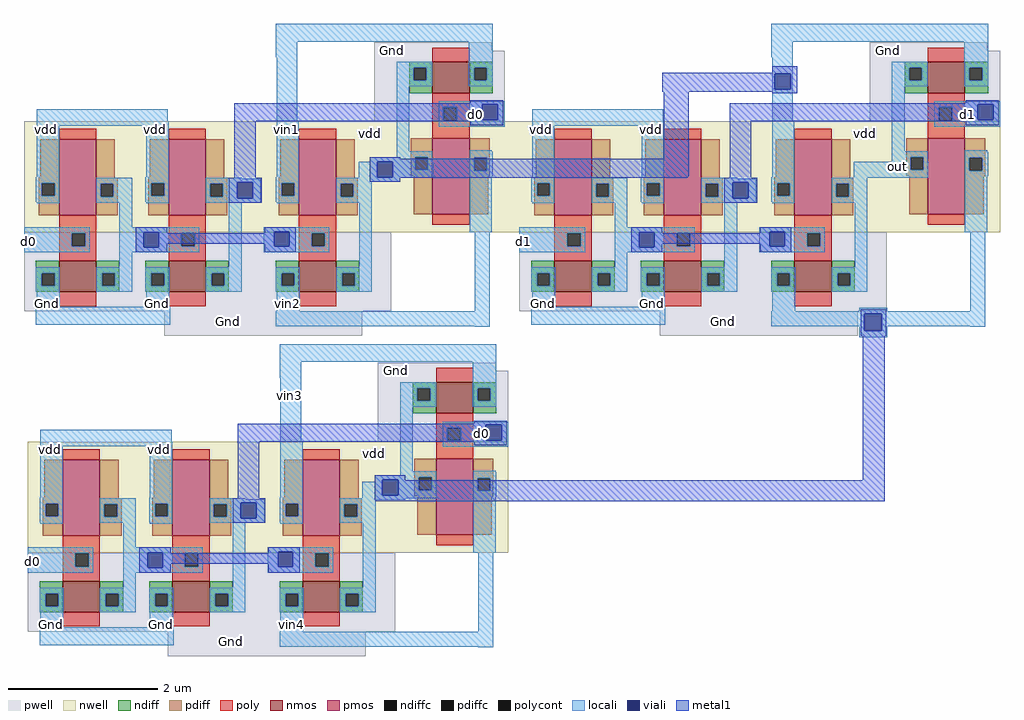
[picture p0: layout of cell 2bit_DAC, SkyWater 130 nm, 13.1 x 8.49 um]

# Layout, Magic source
magic
tech sky130A
<< nwell >>
rect 0 139 1310 288
rect 5 -291 650 -142
<< pwell >>
rect 470 383 628 394
rect 1135 383 1293 394
rect 470 288 645 383
rect 1135 288 1310 383
rect 0 33 493 139
rect 665 33 1158 139
rect 188 0 454 33
rect 853 0 1119 33
rect 475 -47 633 -36
rect 475 -142 650 -47
rect 5 -397 498 -291
rect 193 -430 459 -397
<< nmos >>
rect 548 326 598 368
rect 1213 326 1263 368
rect 47 59 97 101
rect 194 59 244 101
rect 369 59 419 101
rect 712 59 762 101
rect 859 59 909 101
rect 1034 59 1084 101
rect 553 -104 603 -62
rect 52 -371 102 -329
rect 199 -371 249 -329
rect 374 -371 424 -329
<< pmos >>
rect 47 162 97 264
rect 194 162 244 264
rect 369 162 419 264
rect 548 163 598 265
rect 712 162 762 264
rect 859 162 909 264
rect 1034 162 1084 264
rect 1213 163 1263 265
rect 52 -268 102 -166
rect 199 -268 249 -166
rect 374 -268 424 -166
rect 553 -267 603 -165
<< ndiff >>
rect 517 360 548 368
rect 517 343 523 360
rect 540 343 548 360
rect 517 326 548 343
rect 598 360 629 368
rect 598 343 604 360
rect 621 343 629 360
rect 598 326 629 343
rect 1182 360 1213 368
rect 1182 343 1188 360
rect 1205 343 1213 360
rect 1182 326 1213 343
rect 1263 360 1294 368
rect 1263 343 1269 360
rect 1286 343 1294 360
rect 1263 326 1294 343
rect 16 84 47 101
rect 16 67 24 84
rect 41 67 47 84
rect 16 59 47 67
rect 97 84 128 101
rect 97 67 105 84
rect 122 67 128 84
rect 97 59 128 67
rect 163 84 194 101
rect 163 67 171 84
rect 188 67 194 84
rect 163 59 194 67
rect 244 84 275 101
rect 244 67 252 84
rect 269 67 275 84
rect 244 59 275 67
rect 338 84 369 101
rect 338 67 346 84
rect 363 67 369 84
rect 338 59 369 67
rect 419 84 450 101
rect 419 67 427 84
rect 444 67 450 84
rect 419 59 450 67
rect 681 84 712 101
rect 681 67 689 84
rect 706 67 712 84
rect 681 59 712 67
rect 762 84 793 101
rect 762 67 770 84
rect 787 67 793 84
rect 762 59 793 67
rect 828 84 859 101
rect 828 67 836 84
rect 853 67 859 84
rect 828 59 859 67
rect 909 84 940 101
rect 909 67 917 84
rect 934 67 940 84
rect 909 59 940 67
rect 1003 84 1034 101
rect 1003 67 1011 84
rect 1028 67 1034 84
rect 1003 59 1034 67
rect 1084 84 1115 101
rect 1084 67 1092 84
rect 1109 67 1115 84
rect 1084 59 1115 67
rect 522 -70 553 -62
rect 522 -87 528 -70
rect 545 -87 553 -70
rect 522 -104 553 -87
rect 603 -70 634 -62
rect 603 -87 609 -70
rect 626 -87 634 -70
rect 603 -104 634 -87
rect 21 -346 52 -329
rect 21 -363 29 -346
rect 46 -363 52 -346
rect 21 -371 52 -363
rect 102 -346 133 -329
rect 102 -363 110 -346
rect 127 -363 133 -346
rect 102 -371 133 -363
rect 168 -346 199 -329
rect 168 -363 176 -346
rect 193 -363 199 -346
rect 168 -371 199 -363
rect 249 -346 280 -329
rect 249 -363 257 -346
rect 274 -363 280 -346
rect 249 -371 280 -363
rect 343 -346 374 -329
rect 343 -363 351 -346
rect 368 -363 374 -346
rect 343 -371 374 -363
rect 424 -346 455 -329
rect 424 -363 432 -346
rect 449 -363 455 -346
rect 424 -371 455 -363
<< pdiff >>
rect 22 213 47 264
rect 20 205 47 213
rect 20 188 24 205
rect 41 188 47 205
rect 20 162 47 188
rect 97 212 122 264
rect 169 213 194 264
rect 97 204 126 212
rect 97 187 103 204
rect 120 187 126 204
rect 97 162 126 187
rect 167 205 194 213
rect 167 188 171 205
rect 188 188 194 205
rect 167 162 194 188
rect 244 212 269 264
rect 344 213 369 264
rect 244 204 273 212
rect 244 187 250 204
rect 267 187 273 204
rect 244 162 273 187
rect 342 205 369 213
rect 342 188 346 205
rect 363 188 369 205
rect 342 162 369 188
rect 419 212 444 264
rect 519 240 548 265
rect 519 223 525 240
rect 542 223 548 240
rect 519 215 548 223
rect 419 204 448 212
rect 419 187 425 204
rect 442 187 448 204
rect 419 162 448 187
rect 523 163 548 215
rect 598 239 625 265
rect 598 222 604 239
rect 621 222 625 239
rect 598 214 625 222
rect 598 163 623 214
rect 687 213 712 264
rect 685 205 712 213
rect 685 188 689 205
rect 706 188 712 205
rect 685 162 712 188
rect 762 212 787 264
rect 834 213 859 264
rect 762 204 791 212
rect 762 187 768 204
rect 785 187 791 204
rect 762 162 791 187
rect 832 205 859 213
rect 832 188 836 205
rect 853 188 859 205
rect 832 162 859 188
rect 909 212 934 264
rect 1009 213 1034 264
rect 909 204 938 212
rect 909 187 915 204
rect 932 187 938 204
rect 909 162 938 187
rect 1007 205 1034 213
rect 1007 188 1011 205
rect 1028 188 1034 205
rect 1007 162 1034 188
rect 1084 212 1109 264
rect 1184 240 1213 265
rect 1184 223 1190 240
rect 1207 223 1213 240
rect 1184 215 1213 223
rect 1084 204 1113 212
rect 1084 187 1090 204
rect 1107 187 1113 204
rect 1084 162 1113 187
rect 1188 163 1213 215
rect 1263 239 1290 265
rect 1263 222 1269 239
rect 1286 222 1290 239
rect 1263 214 1290 222
rect 1263 163 1288 214
rect 27 -217 52 -166
rect 25 -225 52 -217
rect 25 -242 29 -225
rect 46 -242 52 -225
rect 25 -268 52 -242
rect 102 -218 127 -166
rect 174 -217 199 -166
rect 102 -226 131 -218
rect 102 -243 108 -226
rect 125 -243 131 -226
rect 102 -268 131 -243
rect 172 -225 199 -217
rect 172 -242 176 -225
rect 193 -242 199 -225
rect 172 -268 199 -242
rect 249 -218 274 -166
rect 349 -217 374 -166
rect 249 -226 278 -218
rect 249 -243 255 -226
rect 272 -243 278 -226
rect 249 -268 278 -243
rect 347 -225 374 -217
rect 347 -242 351 -225
rect 368 -242 374 -225
rect 347 -268 374 -242
rect 424 -218 449 -166
rect 524 -190 553 -165
rect 524 -207 530 -190
rect 547 -207 553 -190
rect 524 -215 553 -207
rect 424 -226 453 -218
rect 424 -243 430 -226
rect 447 -243 453 -226
rect 424 -268 453 -243
rect 528 -267 553 -215
rect 603 -191 630 -165
rect 603 -208 609 -191
rect 626 -208 630 -191
rect 603 -216 630 -208
rect 603 -267 628 -216
<< ndiffc >>
rect 523 343 540 360
rect 604 343 621 360
rect 1188 343 1205 360
rect 1269 343 1286 360
rect 24 67 41 84
rect 105 67 122 84
rect 171 67 188 84
rect 252 67 269 84
rect 346 67 363 84
rect 427 67 444 84
rect 689 67 706 84
rect 770 67 787 84
rect 836 67 853 84
rect 917 67 934 84
rect 1011 67 1028 84
rect 1092 67 1109 84
rect 528 -87 545 -70
rect 609 -87 626 -70
rect 29 -363 46 -346
rect 110 -363 127 -346
rect 176 -363 193 -346
rect 257 -363 274 -346
rect 351 -363 368 -346
rect 432 -363 449 -346
<< pdiffc >>
rect 24 188 41 205
rect 103 187 120 204
rect 171 188 188 205
rect 250 187 267 204
rect 346 188 363 205
rect 525 223 542 240
rect 425 187 442 204
rect 604 222 621 239
rect 689 188 706 205
rect 768 187 785 204
rect 836 188 853 205
rect 915 187 932 204
rect 1011 188 1028 205
rect 1190 223 1207 240
rect 1090 187 1107 204
rect 1269 222 1286 239
rect 29 -242 46 -225
rect 108 -243 125 -226
rect 176 -242 193 -225
rect 255 -243 272 -226
rect 351 -242 368 -225
rect 530 -207 547 -190
rect 430 -243 447 -226
rect 609 -208 626 -191
<< poly >>
rect 548 368 598 387
rect 1213 368 1263 387
rect 548 307 598 326
rect 548 289 563 307
rect 581 289 598 307
rect 47 264 97 278
rect 194 264 244 278
rect 369 264 419 278
rect 548 265 598 289
rect 1213 307 1263 326
rect 1213 289 1228 307
rect 1246 289 1263 307
rect 712 264 762 278
rect 859 264 909 278
rect 1034 264 1084 278
rect 1213 265 1263 289
rect 47 138 97 162
rect 47 120 64 138
rect 82 120 97 138
rect 47 101 97 120
rect 194 138 244 162
rect 194 120 211 138
rect 229 120 244 138
rect 194 101 244 120
rect 369 138 419 162
rect 548 149 598 163
rect 369 120 386 138
rect 404 120 419 138
rect 369 101 419 120
rect 712 138 762 162
rect 712 120 729 138
rect 747 120 762 138
rect 712 101 762 120
rect 859 138 909 162
rect 859 120 876 138
rect 894 120 909 138
rect 859 101 909 120
rect 1034 138 1084 162
rect 1213 149 1263 163
rect 1034 120 1051 138
rect 1069 120 1084 138
rect 1034 101 1084 120
rect 47 40 97 59
rect 194 40 244 59
rect 369 40 419 59
rect 712 40 762 59
rect 859 40 909 59
rect 1034 40 1084 59
rect 553 -62 603 -43
rect 553 -123 603 -104
rect 553 -141 568 -123
rect 586 -141 603 -123
rect 52 -166 102 -152
rect 199 -166 249 -152
rect 374 -166 424 -152
rect 553 -165 603 -141
rect 52 -292 102 -268
rect 52 -310 69 -292
rect 87 -310 102 -292
rect 52 -329 102 -310
rect 199 -292 249 -268
rect 199 -310 216 -292
rect 234 -310 249 -292
rect 199 -329 249 -310
rect 374 -292 424 -268
rect 553 -281 603 -267
rect 374 -310 391 -292
rect 409 -310 424 -292
rect 374 -329 424 -310
rect 52 -390 102 -371
rect 199 -390 249 -371
rect 374 -390 424 -371
<< polycont >>
rect 563 289 581 307
rect 1228 289 1246 307
rect 64 120 82 138
rect 211 120 229 138
rect 386 120 404 138
rect 729 120 747 138
rect 876 120 894 138
rect 1051 120 1069 138
rect 568 -141 586 -123
rect 69 -310 87 -292
rect 216 -310 234 -292
rect 391 -310 409 -292
<< locali >>
rect 338 395 629 419
rect 338 374 367 395
rect 17 288 193 304
rect 339 288 367 374
rect 500 360 548 368
rect 500 343 523 360
rect 540 343 548 360
rect 500 335 548 343
rect 597 360 629 395
rect 1003 395 1294 419
rect 1003 374 1032 395
rect 597 343 604 360
rect 621 343 629 360
rect 597 335 629 343
rect 1004 352 1032 374
rect 17 282 194 288
rect 17 213 47 282
rect 164 213 194 282
rect 339 213 369 288
rect 500 248 517 335
rect 1004 331 1008 352
rect 1029 331 1032 352
rect 557 311 645 315
rect 557 307 615 311
rect 557 289 563 307
rect 581 290 615 307
rect 636 290 645 311
rect 581 289 645 290
rect 557 281 645 289
rect 682 288 858 304
rect 1004 288 1032 331
rect 1165 360 1213 368
rect 1165 343 1188 360
rect 1205 343 1213 360
rect 1165 335 1213 343
rect 1262 360 1294 395
rect 1262 343 1269 360
rect 1286 343 1294 360
rect 1262 335 1294 343
rect 682 282 859 288
rect 500 240 548 248
rect 464 234 525 240
rect 16 205 47 213
rect 16 188 24 205
rect 41 188 47 205
rect 16 180 47 188
rect 17 178 47 180
rect 97 204 145 212
rect 97 187 103 204
rect 120 187 145 204
rect 97 179 145 187
rect 163 205 194 213
rect 163 188 171 205
rect 188 188 194 205
rect 163 180 194 188
rect 128 146 145 179
rect 164 178 194 180
rect 244 211 292 212
rect 244 206 318 211
rect 244 204 286 206
rect 244 187 250 204
rect 267 187 286 204
rect 244 185 286 187
rect 307 185 318 206
rect 244 179 318 185
rect 338 205 369 213
rect 449 213 474 234
rect 495 223 525 234
rect 542 234 548 240
rect 598 247 628 249
rect 598 239 629 247
rect 542 223 549 234
rect 495 213 549 223
rect 449 212 549 213
rect 598 222 604 239
rect 621 222 629 239
rect 598 214 629 222
rect 338 188 346 205
rect 363 188 369 205
rect 338 180 369 188
rect 0 138 88 146
rect 0 120 64 138
rect 82 120 88 138
rect 0 112 88 120
rect 128 139 235 146
rect 128 119 161 139
rect 181 138 235 139
rect 181 120 211 138
rect 229 120 235 138
rect 181 119 235 120
rect 128 112 235 119
rect 128 92 145 112
rect 275 92 292 179
rect 339 178 369 180
rect 419 207 505 212
rect 419 204 467 207
rect 419 187 425 204
rect 442 187 467 204
rect 419 179 467 187
rect 322 140 410 146
rect 322 120 336 140
rect 356 138 410 140
rect 356 120 386 138
rect 404 120 410 138
rect 322 112 410 120
rect 450 92 467 179
rect 598 139 628 214
rect 682 213 712 282
rect 829 213 859 282
rect 1004 213 1034 288
rect 1165 248 1182 335
rect 1222 311 1310 315
rect 1222 307 1280 311
rect 1222 289 1228 307
rect 1246 290 1280 307
rect 1301 290 1310 311
rect 1246 289 1310 290
rect 1222 281 1310 289
rect 1165 240 1213 248
rect 1165 234 1190 240
rect 681 205 712 213
rect 681 188 689 205
rect 706 188 712 205
rect 681 180 712 188
rect 682 178 712 180
rect 762 204 810 212
rect 762 187 768 204
rect 785 187 810 204
rect 762 179 810 187
rect 828 205 859 213
rect 828 188 836 205
rect 853 188 859 205
rect 828 180 859 188
rect 793 146 810 179
rect 829 178 859 180
rect 909 211 957 212
rect 909 206 983 211
rect 909 204 951 206
rect 909 187 915 204
rect 932 187 951 204
rect 909 185 951 187
rect 972 185 983 206
rect 909 179 983 185
rect 1003 205 1034 213
rect 1114 223 1190 234
rect 1207 234 1213 240
rect 1263 247 1293 249
rect 1263 239 1294 247
rect 1207 223 1214 234
rect 1114 212 1214 223
rect 1263 222 1269 239
rect 1286 222 1294 239
rect 1263 214 1294 222
rect 1003 188 1011 205
rect 1028 188 1034 205
rect 1003 180 1034 188
rect 16 84 48 92
rect 16 67 24 84
rect 41 67 48 84
rect 16 59 48 67
rect 97 84 145 92
rect 97 67 105 84
rect 122 67 145 84
rect 97 59 145 67
rect 163 84 195 92
rect 163 67 171 84
rect 188 67 195 84
rect 163 59 195 67
rect 244 84 292 92
rect 244 67 252 84
rect 269 67 292 84
rect 244 59 292 67
rect 338 84 370 92
rect 338 67 346 84
rect 363 67 370 84
rect 338 59 370 67
rect 419 84 467 92
rect 419 67 427 84
rect 444 67 467 84
rect 419 59 467 67
rect 17 39 48 59
rect 164 39 195 59
rect 16 15 196 39
rect 339 33 370 59
rect 605 33 625 139
rect 665 138 753 146
rect 665 120 729 138
rect 747 120 753 138
rect 665 112 753 120
rect 793 139 900 146
rect 793 119 826 139
rect 846 138 900 139
rect 846 120 876 138
rect 894 120 900 138
rect 846 119 900 120
rect 793 112 900 119
rect 793 92 810 112
rect 940 92 957 179
rect 1004 178 1034 180
rect 1084 204 1132 212
rect 1084 187 1090 204
rect 1107 187 1132 204
rect 1084 179 1132 187
rect 987 140 1075 146
rect 987 120 1001 140
rect 1021 138 1075 140
rect 1021 120 1051 138
rect 1069 120 1075 138
rect 987 112 1075 120
rect 1115 92 1132 179
rect 1263 139 1293 214
rect 681 84 713 92
rect 681 67 689 84
rect 706 67 713 84
rect 681 59 713 67
rect 762 84 810 92
rect 762 67 770 84
rect 787 67 810 84
rect 762 59 810 67
rect 828 84 860 92
rect 828 67 836 84
rect 853 67 860 84
rect 828 59 860 67
rect 909 84 957 92
rect 909 67 917 84
rect 934 67 957 84
rect 909 59 957 67
rect 1003 84 1035 92
rect 1003 67 1011 84
rect 1028 67 1035 84
rect 1003 59 1035 67
rect 1084 84 1132 92
rect 1084 67 1092 84
rect 1109 67 1132 84
rect 1084 59 1132 67
rect 682 39 713 59
rect 829 39 860 59
rect 338 13 625 33
rect 681 15 861 39
rect 1004 33 1035 59
rect 1121 33 1159 38
rect 1270 33 1290 139
rect 1003 30 1290 33
rect 1003 13 1128 30
rect 605 12 625 13
rect 1121 7 1128 13
rect 1151 13 1290 30
rect 1151 7 1159 13
rect 1270 12 1290 13
rect 1121 -2 1159 7
rect 343 -35 634 -11
rect 343 -56 372 -35
rect 22 -142 198 -126
rect 344 -142 372 -56
rect 505 -70 553 -62
rect 505 -87 528 -70
rect 545 -87 553 -70
rect 505 -95 553 -87
rect 602 -70 634 -35
rect 602 -87 609 -70
rect 626 -87 634 -70
rect 602 -95 634 -87
rect 22 -148 199 -142
rect 22 -217 52 -148
rect 169 -217 199 -148
rect 344 -217 374 -142
rect 505 -182 522 -95
rect 562 -119 650 -115
rect 562 -123 620 -119
rect 562 -141 568 -123
rect 586 -140 620 -123
rect 641 -140 650 -119
rect 586 -141 650 -140
rect 562 -149 650 -141
rect 505 -187 553 -182
rect 471 -190 553 -187
rect 471 -193 530 -190
rect 471 -196 481 -193
rect 21 -225 52 -217
rect 21 -242 29 -225
rect 46 -242 52 -225
rect 21 -250 52 -242
rect 22 -252 52 -250
rect 102 -226 150 -218
rect 102 -243 108 -226
rect 125 -243 150 -226
rect 102 -251 150 -243
rect 168 -225 199 -217
rect 168 -242 176 -225
rect 193 -242 199 -225
rect 168 -250 199 -242
rect 133 -284 150 -251
rect 169 -252 199 -250
rect 249 -219 297 -218
rect 249 -224 323 -219
rect 249 -226 291 -224
rect 249 -243 255 -226
rect 272 -243 291 -226
rect 249 -245 291 -243
rect 312 -245 323 -224
rect 249 -251 323 -245
rect 343 -225 374 -217
rect 454 -214 481 -196
rect 502 -207 530 -193
rect 547 -196 553 -190
rect 603 -183 633 -181
rect 603 -191 634 -183
rect 547 -207 554 -196
rect 502 -214 554 -207
rect 454 -218 554 -214
rect 603 -208 609 -191
rect 626 -208 634 -191
rect 603 -216 634 -208
rect 343 -242 351 -225
rect 368 -242 374 -225
rect 343 -250 374 -242
rect 5 -292 93 -284
rect 5 -310 69 -292
rect 87 -310 93 -292
rect 5 -318 93 -310
rect 133 -291 240 -284
rect 133 -311 166 -291
rect 186 -292 240 -291
rect 186 -310 216 -292
rect 234 -310 240 -292
rect 186 -311 240 -310
rect 133 -318 240 -311
rect 133 -338 150 -318
rect 280 -338 297 -251
rect 344 -252 374 -250
rect 424 -220 512 -218
rect 424 -226 472 -220
rect 424 -243 430 -226
rect 447 -243 472 -226
rect 424 -251 472 -243
rect 327 -290 415 -284
rect 327 -310 341 -290
rect 361 -292 415 -290
rect 361 -310 391 -292
rect 409 -310 415 -292
rect 327 -318 415 -310
rect 455 -338 472 -251
rect 603 -291 633 -216
rect 21 -346 53 -338
rect 21 -363 29 -346
rect 46 -363 53 -346
rect 21 -371 53 -363
rect 102 -346 150 -338
rect 102 -363 110 -346
rect 127 -363 150 -346
rect 102 -371 150 -363
rect 168 -346 200 -338
rect 168 -363 176 -346
rect 193 -363 200 -346
rect 168 -371 200 -363
rect 249 -346 297 -338
rect 249 -363 257 -346
rect 274 -363 297 -346
rect 249 -371 297 -363
rect 343 -346 375 -338
rect 343 -363 351 -346
rect 368 -363 375 -346
rect 343 -371 375 -363
rect 424 -346 472 -338
rect 424 -363 432 -346
rect 449 -363 472 -346
rect 424 -371 472 -363
rect 22 -391 53 -371
rect 169 -391 200 -371
rect 21 -415 201 -391
rect 344 -397 375 -371
rect 610 -397 630 -291
rect 343 -417 630 -397
rect 610 -418 630 -417
<< viali >>
rect 1008 331 1029 352
rect 615 290 636 311
rect 286 185 307 206
rect 474 213 495 234
rect 161 119 181 139
rect 336 120 356 140
rect 1280 290 1301 311
rect 951 185 972 206
rect 826 119 846 139
rect 1001 120 1021 140
rect 1128 7 1151 30
rect 620 -140 641 -119
rect 291 -245 312 -224
rect 481 -214 502 -193
rect 166 -311 186 -291
rect 341 -310 361 -290
<< metal1 >>
rect 1004 353 1038 362
rect 857 352 1038 353
rect 857 331 1008 352
rect 1029 331 1038 352
rect 857 328 1038 331
rect 599 312 643 316
rect 282 311 643 312
rect 282 290 615 311
rect 636 290 643 311
rect 282 288 643 290
rect 282 212 311 288
rect 599 283 643 288
rect 464 238 505 240
rect 859 238 892 328
rect 1004 326 1038 328
rect 1264 312 1308 316
rect 464 234 892 238
rect 464 213 474 234
rect 495 214 892 234
rect 947 311 1308 312
rect 947 290 1280 311
rect 1301 290 1308 311
rect 947 288 1308 290
rect 495 213 891 214
rect 464 212 891 213
rect 947 212 976 288
rect 1264 283 1308 288
rect 275 206 319 212
rect 464 207 505 212
rect 275 185 286 206
rect 307 185 319 206
rect 275 179 319 185
rect 940 206 984 212
rect 940 185 951 206
rect 972 185 984 206
rect 940 179 984 185
rect 150 139 192 146
rect 150 119 161 139
rect 181 138 192 139
rect 323 140 365 146
rect 323 138 336 140
rect 181 124 336 138
rect 181 119 192 124
rect 150 112 192 119
rect 323 120 336 124
rect 356 120 365 140
rect 323 112 365 120
rect 815 139 857 146
rect 815 119 826 139
rect 846 138 857 139
rect 988 140 1030 146
rect 988 138 1001 140
rect 846 124 1001 138
rect 846 119 857 124
rect 815 112 857 119
rect 988 120 1001 124
rect 1021 120 1030 140
rect 988 112 1030 120
rect 1123 30 1157 36
rect 1123 7 1128 30
rect 1151 7 1157 30
rect 1123 0 1157 7
rect 604 -118 648 -114
rect 287 -119 648 -118
rect 287 -140 620 -119
rect 641 -140 648 -119
rect 287 -142 648 -140
rect 287 -218 316 -142
rect 604 -147 648 -142
rect 471 -193 512 -187
rect 471 -214 481 -193
rect 502 -194 512 -193
rect 1126 -194 1155 0
rect 502 -214 1155 -194
rect 280 -224 324 -218
rect 471 -220 1155 -214
rect 472 -222 1155 -220
rect 280 -245 291 -224
rect 312 -245 324 -224
rect 280 -251 324 -245
rect 155 -291 197 -284
rect 155 -311 166 -291
rect 186 -292 197 -291
rect 328 -290 370 -284
rect 328 -292 341 -290
rect 186 -306 341 -292
rect 186 -311 197 -306
rect 155 -318 197 -311
rect 328 -310 341 -306
rect 361 -310 370 -290
rect 328 -318 370 -310
<< labels >>
rlabel nwell 30 277 30 277 1 vdd
rlabel pwell 32 43 32 43 1 Gnd
rlabel pwell 179 43 179 43 1 Gnd
rlabel nwell 177 277 177 277 1 vdd
rlabel locali 352 277 352 277 1 vin1
rlabel locali 354 43 354 43 1 vin2
rlabel pwell 274 20 274 20 1 Gnd
rlabel nwell 465 272 465 272 1 vdd
rlabel pwell 495 383 495 383 1 Gnd
rlabel pwell 500 -47 500 -47 1 Gnd
rlabel nwell 470 -158 470 -158 1 vdd
rlabel pwell 279 -410 279 -410 1 Gnd
rlabel nwell 182 -153 182 -153 1 vdd
rlabel pwell 184 -387 184 -387 1 Gnd
rlabel pwell 37 -387 37 -387 1 Gnd
rlabel nwell 35 -153 35 -153 1 vdd
rlabel nwell 695 277 695 277 1 vdd
rlabel pwell 697 43 697 43 1 Gnd
rlabel pwell 844 43 844 43 1 Gnd
rlabel nwell 842 277 842 277 1 vdd
rlabel locali 1172 227 1172 227 5 out
rlabel pwell 939 20 939 20 1 Gnd
rlabel nwell 1130 272 1130 272 1 vdd
rlabel pwell 1160 383 1160 383 1 Gnd
rlabel locali 6 127 6 127 1 d0
rlabel locali 11 -303 11 -303 1 d0
rlabel locali 356 -80 356 -80 1 vin3
rlabel locali 359 -387 359 -387 1 vin4
rlabel locali 671 127 671 127 1 d1
rlabel metal1 606 297 606 297 1 d0
rlabel metal1 614 -131 614 -131 1 d0
rlabel metal1 1267 297 1267 297 1 d1
<< end >>
